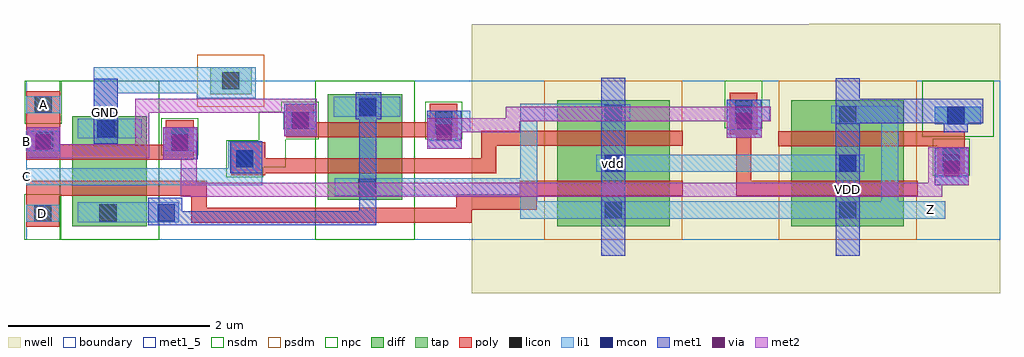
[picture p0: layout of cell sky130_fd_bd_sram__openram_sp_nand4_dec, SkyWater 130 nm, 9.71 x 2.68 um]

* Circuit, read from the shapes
.subckt sky130_fd_bd_sram__openram_sp_nand4_dec A B C D GND VDD Z
XM1 n1 D n2 GND sky130_fd_pr__nfet_01v8 w=0.74 l=0.15
XM2 GND A n1 GND sky130_fd_pr__nfet_01v8 w=0.74 l=0.15
XM3 n3 C Z GND sky130_fd_pr__nfet_01v8 w=0.74 l=0.15
XM4 n2 B n3 GND sky130_fd_pr__nfet_01v8 w=0.74 l=0.15
XM5 VDD D Z VDD sky130_fd_pr__pfet_01v8 w=1.12 l=0.15
XM6 Z C VDD VDD sky130_fd_pr__pfet_01v8 w=1.12 l=0.15
XM7 VDD B Z VDD sky130_fd_pr__pfet_01v8 w=1.12 l=0.15
XM8 Z A VDD VDD sky130_fd_pr__pfet_01v8 w=1.12 l=0.15
.ends

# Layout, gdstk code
import gdstk
lib = gdstk.Library(unit=1e-6, precision=1e-09)
def R(c, l, rs):  # rectangles x0, y0, x1, y1
    for r in rs: c.add(gdstk.rectangle(r[:2], r[2:], *l))
nwell = (64, 20)
diff = (65, 20)
tap = (65, 44)
poly = (66, 20)
licon = (66, 44)
li1 = (67, 20)
mcon = (67, 44)
met1_5 = (68, 5)
met1 = (68, 20)
via = (68, 44)
met2 = (69, 20)
nsdm = (93, 44)
psdm = (94, 20)
npc = (95, 20)
boundary = (235, 4)

sky130_fd_bd_sram__openr = lib.new_cell('sky130_fd_bd_sram__openram_sp_nand4_dec')
R(sky130_fd_bd_sram__openr, nwell, [(4.43,-0.53,9.685,2.14), (7.79,2.14,9.685,2.145)])
R(sky130_fd_bd_sram__openr, diff, [(0.46,0.135,1.2,1.23), (5.28,0.135,6.4,1.385), (7.61,0.135,8.73,1.385), (3,0.395,3.74,1.445)])
R(sky130_fd_bd_sram__openr, tap, [(9.035,1.15,9.5,1.32), (1.83,1.445,2.245,1.715)])
R(sky130_fd_bd_sram__openr, poly, [(0,0.13,0.33,0.435), (1.645,0.17,4.43,0.3), (1.645,0.3,5.08,0.32), (1.645,0.32,1.795,0.435), (4.28,0.32,5.08,0.435), (0,0.435,1.795,0.585), (4.28,0.435,6.53,0.45), (7.06,0.435,8.865,0.585), (4.91,0.45,6.53,0.585), (7.06,0.585,7.21,1.05), (2.04,0.64,2.38,0.66), (9.065,0.655,9.335,0.93), (2.04,0.66,4.675,0.81), (0,0.795,1.67,0.945), (2.04,0.81,2.38,0.97), (4.525,0.81,4.675,0.935), (7.48,0.93,9.335,1.08), (4.525,0.935,6.53,1.085), (0,0.945,0.34,1.475), (1.365,0.945,1.67,0.95), (1.39,0.95,1.67,1.19), (2.59,1.02,4.29,1.17), (7,1.05,7.27,1.46), (2.59,1.17,2.86,1.35), (4.015,1.17,4.29,1.35)])
R(sky130_fd_bd_sram__openr, licon, [(0.08,0.18,0.25,0.35), (0.73,0.185,0.9,0.355), (5.755,0.21,5.925,0.38), (8.085,0.21,8.255,0.38), (3.305,0.435,3.475,0.605), (5.755,0.675,5.925,0.845), (8.085,0.675,8.255,0.845), (2.09,0.72,2.26,0.89), (9.115,0.735,9.285,0.905), (1.445,0.94,1.615,1.11), (0.745,1.02,0.915,1.19), (2.64,1.1,2.81,1.27), (4.07,1.1,4.24,1.27), (9.165,1.15,9.335,1.32), (8.085,1.16,8.255,1.33), (5.755,1.175,5.925,1.345), (7.05,1.21,7.22,1.38), (3.315,1.235,3.485,1.405), (0.085,1.255,0.255,1.425), (1.95,1.495,2.12,1.665)])
R(sky130_fd_bd_sram__openr, li1, [(0.515,0.175,1.52,0.37), (0,0.18,0.33,0.35), (4.915,0.21,9.14,0.38), (4.915,0.38,5.085,0.44), (8.505,0.38,8.675,1.16), (3.07,0.435,3.74,0.44), (3.07,0.44,5.085,0.61), (0,0.54,2.35,0.71), (4.915,0.61,5.085,1.18), (9.035,0.62,9.375,0.915), (5.67,0.675,8.335,0.845), (2.01,0.71,2.35,0.98), (0,0.88,0.33,1.085), (1.365,0.88,1.705,1.12), (3.99,0.985,4.33,1.07), (0.515,1.01,1.15,1.205), (3.99,1.07,4.415,1.28), (6.97,1.095,7.31,1.18), (2.56,1.1,2.89,1.27), (9.035,1.15,9.5,1.32), (8.005,1.16,8.675,1.33), (5.67,1.175,6.01,1.18), (4.915,1.18,6.01,1.345), (6.97,1.18,7.395,1.39), (0.675,1.205,0.91,1.455), (3.06,1.225,3.72,1.42), (0,1.255,0.34,1.425), (4.915,1.345,5.795,1.35), (1.7,1.405,2.285,1.455), (0.675,1.455,2.285,1.715)])
R(sky130_fd_bd_sram__openr, mcon, [(1.31,0.185,1.48,0.355), (5.755,0.675,5.925,0.845), (8.085,0.675,8.255,0.845), (9.115,0.68,9.285,0.85), (2.09,0.72,2.26,0.89), (1.445,0.885,1.615,1.055), (0.1,0.9,0.27,1.07), (0.71,1.02,0.88,1.19), (4.07,1.045,4.24,1.215), (2.64,1.1,2.81,1.27), (9.16,1.15,9.33,1.32), (7.05,1.155,7.22,1.325), (3.315,1.235,3.485,1.405)])
R(sky130_fd_bd_sram__openr, met1_5, [(8.05,-0.16,8.29,1.155), (0.675,0.925,0.91,1.6)])
R(sky130_fd_bd_sram__openr, met1, [(5.72,-0.16,5.96,1.61), (8.05,-0.16,8.29,1.16), (1.215,0.145,3.485,0.285), (1.215,0.285,1.555,0.415), (3.315,0.285,3.485,1.2), (9.035,0.54,9.375,0.915), (2.03,0.66,2.35,0.98), (1.365,0.8,1.71,1.06), (0.005,0.81,0.34,1.12), (3.99,0.905,4.335,1.22), (0.675,0.955,0.91,1.6), (6.97,1.015,7.315,1.33), (2.57,1.03,2.89,1.35), (1.365,1.06,1.705,1.12), (9.125,1.07,9.365,1.16), (8.05,1.16,9.52,1.4), (3.28,1.2,3.53,1.465), (3.99,1.22,4.33,1.28), (6.97,1.33,7.31,1.39), (8.05,1.4,8.29,1.605)])
R(sky130_fd_bd_sram__openr, via, [(9.13,0.63,9.28,0.78), (1.46,0.89,1.61,1.04), (0.09,0.895,0.24,1.045), (4.085,0.995,4.235,1.145), (7.065,1.105,7.215,1.255), (2.655,1.115,2.805,1.265)])
R(sky130_fd_bd_sram__openr, met2, [(1.54,0.425,9.11,0.54), (1.54,0.54,9.375,0.565), (1.54,0.565,1.7,0.795), (8.97,0.565,9.375,0.92), (1.365,0.795,1.7,0.98), (0.005,0.81,1.225,0.95), (3.99,0.905,4.335,1.07), (0.005,0.95,0.34,1.12), (1.085,0.95,1.225,1.26), (1.365,0.98,1.705,1.12), (6.97,1.015,7.315,1.18), (2.57,1.03,2.89,1.26), (3.99,1.07,4.91,1.18), (3.99,1.18,7.405,1.21), (4.77,1.21,7.405,1.32), (1.085,1.26,2.89,1.4)])
R(sky130_fd_bd_sram__openr, nsdm, [(0.335,0,1.325,1.58), (2.875,0,3.865,1.58), (8.91,1.025,9.625,1.58)])
R(sky130_fd_bd_sram__openr, psdm, [(5.155,0,6.525,1.58), (7.485,0,8.855,1.58), (1.705,1.32,2.37,1.84)])
R(sky130_fd_bd_sram__openr, npc, [(-0.02,0,0.35,0.45), (1.99,0.62,2.36,0.72), (9.015,0.635,9.385,1.005), (1.99,0.72,2.585,0.99), (1.345,0.84,1.715,1.21), (2.315,0.99,2.585,1), (2.315,1,2.91,1.27), (3.97,1,4.34,1.37), (6.95,1.11,7.32,1.58), (-0.015,1.155,0.355,1.58), (2.54,1.27,2.91,1.37)])
R(sky130_fd_bd_sram__openr, boundary, [(0,0,9.685,1.58)])
sky130_fd_bd_sram__openr.add(gdstk.Label('GND', (0.792,1.262), layer=68, texttype=5))
sky130_fd_bd_sram__openr.add(gdstk.Label('VDD', (8.17,0.497), layer=68, texttype=5))
sky130_fd_bd_sram__openr.add(gdstk.Label('gnd', (0.79,1.26), layer=68, texttype=5))
sky130_fd_bd_sram__openr.add(gdstk.Label('vdd', (8.17,0.63), layer=68, texttype=5))
sky130_fd_bd_sram__openr.add(gdstk.Label('vdd', (8.17,0.5), layer=68, texttype=5))
sky130_fd_bd_sram__openr.add(gdstk.Label('vdd', (5.84,0.755), layer=68, texttype=5))
sky130_fd_bd_sram__openr.add(gdstk.Label('A', (0.17,1.34), layer=67, texttype=5))
sky130_fd_bd_sram__openr.add(gdstk.Label('B', (0,0.98), layer=67, texttype=5))
sky130_fd_bd_sram__openr.add(gdstk.Label('C', (0.005,0.63), layer=67, texttype=5))
sky130_fd_bd_sram__openr.add(gdstk.Label('D', (0.165,0.265), layer=67, texttype=5))
sky130_fd_bd_sram__openr.add(gdstk.Label('Z', (8.99,0.3), layer=67, texttype=5))

lib.write_gds('sky130_fd_bd_sram__openram_sp_nand4_dec.gds')
